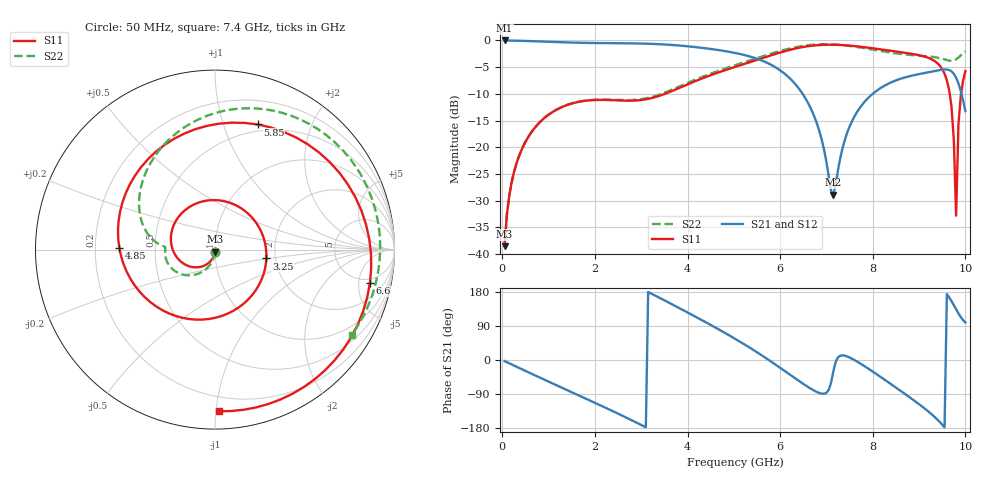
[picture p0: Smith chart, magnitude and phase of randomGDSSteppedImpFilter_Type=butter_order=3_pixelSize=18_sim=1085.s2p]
! freq	dB(S11)	phase(S11)	dB(S12)	phase(S12)
!  dB(S21)	phase(S21)	dB(S22)	phase(S22)
!S-par simulation data
#  GHz  S  DB  R 50
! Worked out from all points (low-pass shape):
!   200 points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, 50 MHz to 10 GHz, reference 50 ohm
!   highest |S21| = -0.01 dB at 50 MHz (marker M1); lowest = -28.9 dB at 7.15 GHz (marker M2)
!   |S21| within 3 dB of the highest: start of sweep to 5.346 GHz
!   lowest |S11| = -38.5 dB at 50 MHz (marker M3), VSWR 1.02, Z = 49.9 - j1.18 ohm
!   |S11| at or under -10 dB: start of sweep to 3.512 GHz; 9.661 GHz to 9.908 GHz (247.2 MHz wide, 2.53 % of centre)
!   |S22| runs from -38.5 to -0.7 dB; largest |S21 - S12| = 0
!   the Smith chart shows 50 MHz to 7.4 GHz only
!   S11 on the Smith chart (normalised r, x): 50 MHz: 1.00, -0.02; 3.25 GHz: 1.79, -0.19; 4.85 GHz: 0.30, +0.01; 5.85 GHz: 0.43, +1.31; 6.6 GHz: 4.15, -6.99; 7.4 GHz: 0.11, -1.02
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0.05  -38.53 -92.9  -0.01 -2.9  -0.01 -2.9  -38.52 -91.7
0.2  -26.65 -104.1  -0.03 -11.6  -0.03 -11.6  -26.63 -99.2
0.5  -19.01 -125.4  -0.09 -28.8  -0.09 -28.8  -18.99 -113.2
1.75  -11.35 143.2  -0.45 -98.9  -0.45 -98.9  -11.32 -162.2
3.25  -10.74 -9.8  -0.65 173.2  -0.65 173.2  -10.53 175.5
3.4  -10.35 -27.6  -0.71 163.8  -0.71 163.8  -10.12 174.5
4.15  -7.69 -110.3  -1.23 115.7  -1.23 115.7  -7.41 160.8
4.85  -5.46 178.8  -2.06 68.5  -2.06 68.5  -5.14 137.0
5.05  -4.89 158.3  -2.39 54.3  -2.39 54.3  -4.57 128.9
5.85  -2.66 71.2  -4.77 -7.9  -4.77 -7.9  -2.36 89.6
6.6  -1.08 -12.1  -11.68 -71.0  -11.68 -71.0  -0.89 37.8
6.7  -0.97 -22.6  -13.47 -78.5  -13.47 -78.5  -0.81 29.8
7.15  -0.81 -66.4  -28.89 -29.4  -28.89 -29.4  -0.75 -8.7
7.4  -0.90 -88.4  -18.53 11.3  -18.53 11.3  -0.93 -31.8
7.9  -1.35 -128.1  -10.78 -22.6  -10.78 -22.6  -1.57 -81.4
8.35  -1.88 -160.7  -8.04 -59.9  -8.04 -59.9  -2.24 -129.6
8.9  -2.60 159.3  -6.49 -107.6  -6.49 -107.6  -2.79 170.2
9.55  -6.23 91.2  -5.43 -178.0  -5.43 -178.0  -3.55 107.5
9.7  -12.42 61.6  -5.78 155.4  -5.78 155.4  -3.83 99.2
9.8  -32.82 -100.3  -6.97 133.9  -6.97 133.9  -3.56 96.0
9.85  -15.72 -154.1  -8.04 123.1  -8.04 123.1  -3.21 94.0
10  -5.73 168.6  -13.24 99.2  -13.24 99.2  -2.04 82.9
